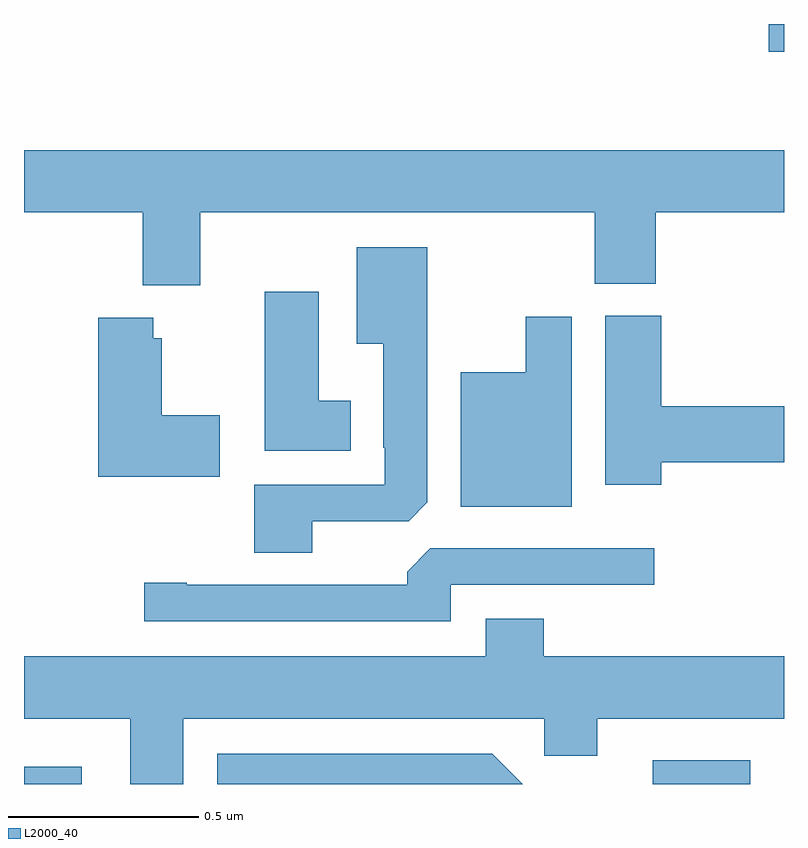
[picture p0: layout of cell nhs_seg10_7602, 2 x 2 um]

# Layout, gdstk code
import gdstk
lib = gdstk.Library(unit=1e-6, precision=1e-09)
def R(c, l, rs):  # rectangles x0, y0, x1, y1
    for r in rs: c.add(gdstk.rectangle(r[:2], r[2:], *l))
def P(c, l, *ps):  # polygons
    for p in ps: c.add(gdstk.Polygon(p, *l))
L2000_40 = (2000, 40)

nhs_seg10_7602 = lib.new_cell('nhs_seg10_7602')
R(nhs_seg10_7602, L2000_40, [(206,1277.5,206.152,1277.545), (207.654,1277.5,207.911,1277.562), (207.96,1279.427,208,1279.5)])
P(nhs_seg10_7602, L2000_40, [(206.464,1279.004),(207.502,1279.004),(207.502,1278.817),(207.662,1278.817),(207.662,1279.004),(208,1279.004),(208,1279.168),(206,1279.168),(206,1279.004),(206.312,1279.004),(206.312,1278.812),(206.464,1278.812)],
  [(206.758,1278.192),(207.012,1278.192),(207.061,1278.241),(207.061,1278.913),(206.876,1278.913),(206.876,1278.659),(206.945,1278.659),(206.945,1278.385),(206.949,1278.385),(206.949,1278.288),(206.606,1278.288),(206.606,1278.109),(206.758,1278.109)],
  [(206.86,1278.508),(206.776,1278.508),(206.776,1278.796),(206.633,1278.796),(206.633,1278.377),(206.86,1278.377)],
  [(207.677,1278.347),(208,1278.347),(208,1278.494),(207.677,1278.494),(207.677,1278.732),(207.53,1278.732),(207.53,1278.288),(207.677,1278.288)],
  [(207.442,1278.73),(207.32,1278.73),(207.32,1278.583),(207.149,1278.583),(207.149,1278.23),(207.442,1278.23)],
  [(206.515,1278.471),(206.362,1278.471),(206.362,1278.673),(206.34,1278.673),(206.34,1278.727),(206.195,1278.727),(206.195,1278.308),(206.515,1278.308)],
  [(207.123,1278.024),(207.658,1278.024),(207.658,1278.12),(207.069,1278.12),(207.008,1278.058),(207.008,1278.024),(206.428,1278.024),(206.428,1278.029),(206.316,1278.029),(206.316,1277.928),(207.123,1277.928)],
  [(206.419,1277.672),(207.369,1277.672),(207.369,1277.574),(207.508,1277.574),(207.508,1277.672),(208,1277.672),(208,1277.836),(207.368,1277.836),(207.368,1277.935),(207.215,1277.935),(207.215,1277.836),(206,1277.836),(206,1277.672),(206.279,1277.672),(206.279,1277.5),(206.419,1277.5)],
  [(207.232,1277.58),(206.508,1277.58),(206.508,1277.5),(207.312,1277.5)])

lib.write_gds('nhs_seg10_7602.gds')
